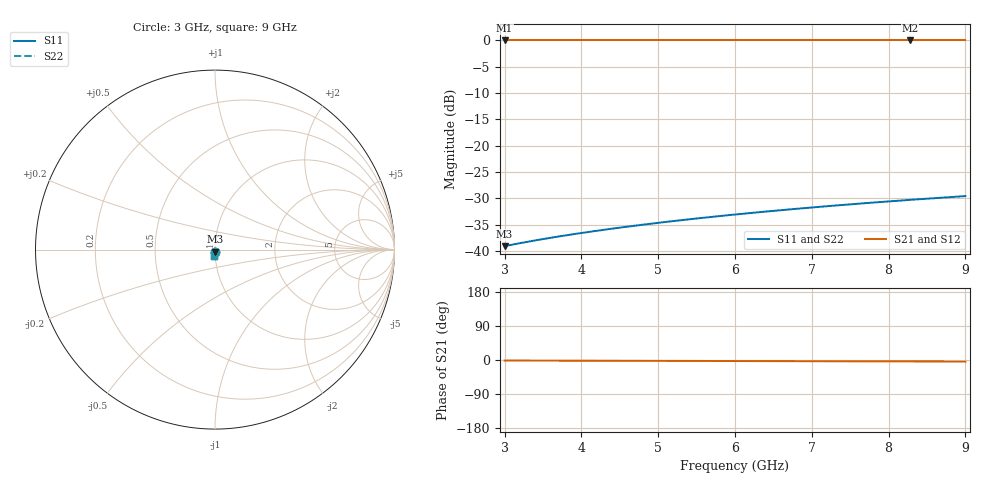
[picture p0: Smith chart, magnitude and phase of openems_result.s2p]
# Hz S RI R 50
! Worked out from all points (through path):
!   401 points, 3 GHz to 9 GHz, reference 50 ohm
!   highest |S21| = 0.00 dB at 3 GHz (marker M1); lowest = 0.0 dB at 8.28 GHz (marker M2)
!   lowest |S11| = -39.1 dB at 3 GHz (marker M3), VSWR 1.02, Z = 50 - j1.11 ohm
!   |S11| at or under -10 dB: start of sweep to end of sweep
!   |S22| runs from -39.1 to -29.6 dB; largest |S21 - S12| = 0
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3e9  -0.000349 -0.0111  0.9996 -0.024  0.9996 -0.024  -0.000349 -0.0111
3.03e9  -0.000358 -0.0112  0.9996 -0.0242  0.9996 -0.0242  -0.000358 -0.0112
3.165e9  -0.000398 -0.0117  0.9996 -0.0253  0.9996 -0.0253  -0.000398 -0.0117
3.3e9  -0.00044 -0.0122  0.9995 -0.0264  0.9995 -0.0264  -0.00044 -0.0122
3.51e9  -0.000507 -0.013  0.9995 -0.028  0.9995 -0.028  -0.000507 -0.013
3.75e9  -0.000585 -0.0138  0.9994 -0.0299  0.9994 -0.0299  -0.000585 -0.0138
4.005e9  -0.000671 -0.0148  0.9994 -0.0319  0.9994 -0.0319  -0.000671 -0.0148
4.245e9  -0.000756 -0.0157  0.9993 -0.0338  0.9993 -0.0338  -0.000756 -0.0157
4.485e9  -0.000844 -0.0165  0.9992 -0.0358  0.9992 -0.0358  -0.000844 -0.0165
4.74e9  -0.000942 -0.0175  0.9992 -0.0378  0.9992 -0.0378  -0.000942 -0.0175
5.01e9  -0.00105 -0.0185  0.9991 -0.0399  0.9991 -0.0399  -0.00105 -0.0185
5.25e9  -0.00115 -0.0193  0.999 -0.0419  0.999 -0.0419  -0.00115 -0.0193
5.49e9  -0.00126 -0.0202  0.9989 -0.0438  0.9989 -0.0438  -0.00126 -0.0202
5.745e9  -0.00138 -0.0212  0.9988 -0.0458  0.9988 -0.0458  -0.00138 -0.0212
6e9  -0.0015 -0.0221  0.9986 -0.0478  0.9986 -0.0478  -0.0015 -0.0221
6.495e9  -0.00176 -0.0239  0.9984 -0.0518  0.9984 -0.0518  -0.00176 -0.0239
7.005e9  -0.00205 -0.0258  0.9981 -0.0558  0.9981 -0.0558  -0.00205 -0.0258
7.5e9  -0.00235 -0.0276  0.9978 -0.0598  0.9978 -0.0598  -0.00235 -0.0276
8.01e9  -0.00269 -0.0294  0.9976 -0.0638  0.9976 -0.0638  -0.00269 -0.0294
8.28e9  -0.00287 -0.0304  0.9974 -0.0659  0.9974 -0.0659  -0.00287 -0.0304
8.73e9  -0.00317 -0.032  0.9972 -0.0695  0.9972 -0.0695  -0.00317 -0.032
9e9  -0.00334 -0.033  0.9971 -0.0717  0.9971 -0.0717  -0.00334 -0.033
